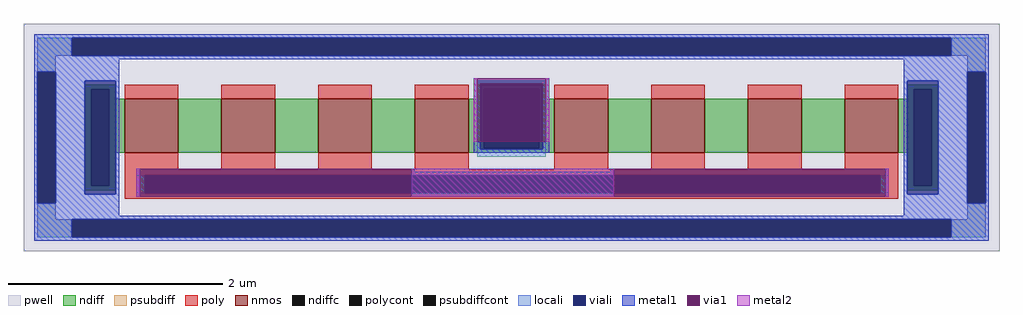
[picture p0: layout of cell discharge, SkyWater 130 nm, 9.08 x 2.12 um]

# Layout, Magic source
magic
tech sky130A
<< pwell >>
rect 6 0 914 212
<< nmos >>
rect 100 92 150 142
rect 190 92 240 142
rect 280 92 330 142
rect 370 92 420 142
rect 500 92 550 142
rect 590 92 640 142
rect 680 92 730 142
rect 770 92 820 142
<< ndiff >>
rect 63 151 92 155
rect 63 61 69 151
rect 86 142 92 151
rect 428 151 492 155
rect 428 142 434 151
rect 86 92 100 142
rect 150 92 190 142
rect 240 92 280 142
rect 330 92 370 142
rect 420 96 434 142
rect 486 142 492 151
rect 828 151 857 155
rect 828 142 834 151
rect 486 96 500 142
rect 420 92 500 96
rect 550 92 590 142
rect 640 92 680 142
rect 730 92 770 142
rect 820 92 834 142
rect 86 61 92 92
rect 63 57 92 61
rect 828 61 834 92
rect 851 61 857 151
rect 828 57 857 61
<< ndiffc >>
rect 69 61 86 151
rect 434 96 486 151
rect 834 61 851 151
<< psubdiff >>
rect 19 182 51 199
rect 869 182 901 199
rect 19 167 36 182
rect 884 167 901 182
rect 19 30 36 45
rect 884 30 901 45
rect 19 13 51 30
rect 869 13 901 30
<< psubdiffcont >>
rect 51 182 869 199
rect 19 45 36 167
rect 884 45 901 167
rect 51 13 869 30
<< poly >>
rect 100 142 150 155
rect 190 142 240 155
rect 280 142 330 155
rect 370 142 420 155
rect 500 142 550 155
rect 590 142 640 155
rect 680 142 730 155
rect 770 142 820 155
rect 100 76 150 92
rect 190 76 240 92
rect 280 76 330 92
rect 370 76 420 92
rect 500 76 550 92
rect 590 76 640 92
rect 680 76 730 92
rect 770 76 820 92
rect 100 71 820 76
rect 100 54 119 71
rect 803 54 820 71
rect 100 49 820 54
<< polycont >>
rect 119 54 803 71
<< locali >>
rect 19 182 51 199
rect 869 182 901 199
rect 19 167 36 182
rect 884 167 901 182
rect 428 156 492 159
rect 428 95 431 156
rect 489 95 492 156
rect 428 88 492 95
rect 111 54 119 71
rect 803 54 811 71
rect 19 30 36 45
rect 884 30 901 45
rect 19 13 51 30
rect 869 13 901 30
<< viali >>
rect 51 182 869 199
rect 19 45 36 167
rect 63 151 92 159
rect 63 61 69 151
rect 69 61 86 151
rect 86 61 92 151
rect 431 151 489 156
rect 431 96 434 151
rect 434 96 486 151
rect 486 96 489 151
rect 431 95 489 96
rect 828 151 857 159
rect 63 53 92 61
rect 119 54 803 71
rect 828 61 834 151
rect 834 61 851 151
rect 851 61 857 151
rect 828 53 857 61
rect 884 45 901 167
rect 51 13 869 30
<< metal1 >>
rect 16 199 904 202
rect 16 182 51 199
rect 869 182 904 199
rect 16 179 904 182
rect 16 167 95 179
rect 16 45 19 167
rect 36 159 95 167
rect 825 167 904 179
rect 36 53 63 159
rect 92 53 95 159
rect 425 102 428 161
rect 492 102 495 161
rect 425 95 431 102
rect 489 95 495 102
rect 425 92 495 95
rect 825 159 884 167
rect 36 45 95 53
rect 111 51 114 77
rect 367 74 370 77
rect 552 74 555 77
rect 367 71 555 74
rect 367 51 555 54
rect 808 51 811 77
rect 825 53 828 159
rect 857 53 884 159
rect 16 33 95 45
rect 825 45 884 53
rect 901 45 904 167
rect 825 33 904 45
rect 16 30 904 33
rect 16 13 51 30
rect 869 13 904 30
rect 16 10 904 13
<< via1 >>
rect 428 156 492 161
rect 428 102 431 156
rect 431 102 489 156
rect 489 102 492 156
rect 114 71 367 77
rect 555 71 808 77
rect 114 54 119 71
rect 119 54 367 71
rect 555 54 803 71
rect 803 54 808 71
rect 114 51 367 54
rect 555 51 808 54
<< metal2 >>
rect 425 102 428 161
rect 492 102 495 161
rect 111 51 114 77
rect 367 51 555 77
rect 808 51 811 77
<< properties >>
string FIXED_BBOX 0 0 920 212
<< end >>
